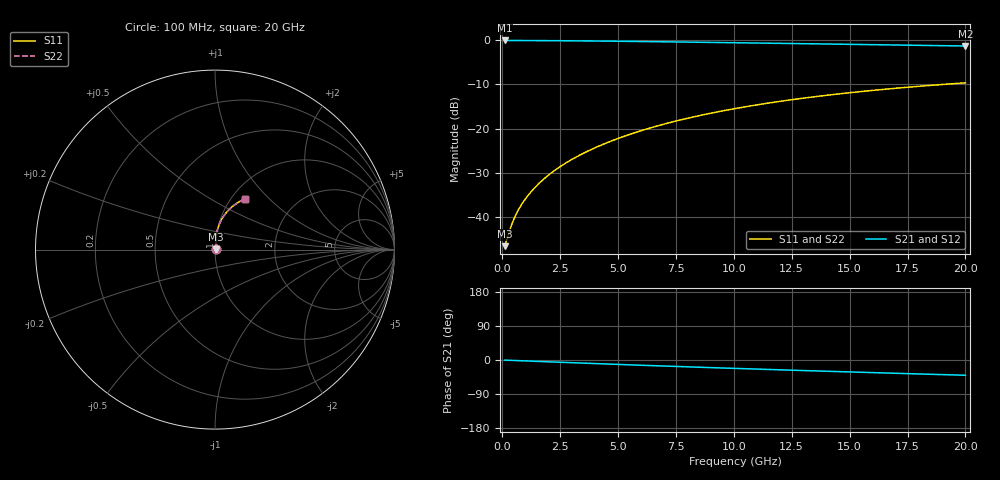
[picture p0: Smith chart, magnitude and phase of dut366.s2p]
! Touchstone file exported from HFSS 2024.1.0
!  File:  C:/UserFiles/LocalFiles/RDL_TSV_Batchsim/temp_RDL_bottom_366_1779613062.aedt
!  Generated:  05:00:42 PM May 24, 2026
!  Design:  RDL_bottom
!  Project:  temp_RDL_bottom_366_1779613062
!  Setup:  Setup1
!  Solution:  Sweep
! Variables:
!  dtsv = 10.80580581um
!  hbump = 3um
!  htsv = 75.45um
!  ldown = 586.68um
!  lrdl = 100um
!  p = 40
!  p1 = 46.04um
!  rhole = 1um
!  t = 450um
!  tdown = 2.1um
!  trdl = 3.915915916um
!  wdown = 24.77um
!  wrdl = 20um
# GHz S MA R 50.000000
! Terminal data exported
! Port[1] = RDL1_T1
! Port[2] = RDL1_T2
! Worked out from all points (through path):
!   200 points, 100 MHz to 20 GHz, reference 50 ohm
!   highest |S21| = -0.04 dB at 100 MHz (marker M1); lowest = -1.3 dB at 20 GHz (marker M2)
!   group delay of S21, straight-line fit = 5.55 ps
!   lowest |S11| = -46.6 dB at 100 MHz (marker M3), VSWR 1.01, Z = 50.4 + j0.173 ohm
!   |S11| at or under -10 dB: start of sweep to 19.01 GHz
!   |S22| runs from -46.6 to -9.6 dB; largest |S21 - S12| = 3.1e-15
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0.1  0.004675 21.5  0.9956 -0.3  0.9956 -0.3  0.004675 21.5
! Gamma 0 0 0 0
! Port Impedance 50 0 50 0
0.4  0.008121 53.4  0.995 -1.0  0.995 -1.0  0.008121 53.4
0.5  0.009444 57.9  0.9947 -1.3  0.9947 -1.3  0.009444 57.9
0.6  0.01077 61.2  0.9945 -1.5  0.9945 -1.5  0.01077 61.2
0.7  0.01208 63.9  0.9942 -1.7  0.9942 -1.7  0.01208 63.9
0.9  0.01472 68.0  0.9937 -2.2  0.9937 -2.2  0.01472 68.0
1.2  0.01872 72.4  0.993 -2.9  0.993 -2.9  0.01872 72.4
1.4  0.02144 74.6  0.9925 -3.4  0.9925 -3.4  0.02144 74.6
1.7  0.0256 77.1  0.9916 -4.1  0.9916 -4.1  0.0256 77.0
2.2  0.03277 79.9  0.9899 -5.3  0.9899 -5.3  0.03277 79.9
2.8  0.04171 82.0  0.9875 -6.7  0.9875 -6.7  0.04171 82.0
3.5  0.05259 83.5  0.9842 -8.3  0.9842 -8.3  0.05258 83.4
4.2  0.06393 84.1  0.9804 -9.9  0.9804 -9.9  0.06392 84.1
5  0.07739 84.3  0.9755 -11.7  0.9755 -11.7  0.07738 84.2
5.9  0.09308 83.9  0.9695 -13.7  0.9695 -13.7  0.09305 83.8
6.8  0.1092 83.0  0.9631 -15.6  0.9631 -15.6  0.1092 83.0
8.4  0.1384 80.8  0.9513 -18.9  0.9513 -18.9  0.1384 80.8
10.1  0.1696 77.9  0.9383 -22.3  0.9383 -22.3  0.1695 77.9
11.7  0.1985 74.9  0.9258 -25.4  0.9258 -25.4  0.1984 74.8
13.4  0.2282 71.6  0.9125 -28.6  0.9125 -28.6  0.228 71.5
16.7  0.282 65.2  0.8868 -34.6  0.8868 -34.6  0.2819 65.1
20  0.3301 59.1  0.8615 -40.3  0.8615 -40.3  0.3299 59.0
